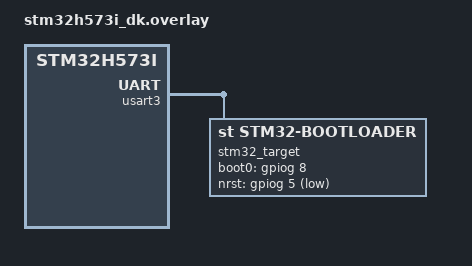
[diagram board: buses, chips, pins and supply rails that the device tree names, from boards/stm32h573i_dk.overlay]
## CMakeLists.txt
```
# SPDX-License-Identifier: Apache-2.0

cmake_minimum_required(VERSION 3.20.0)
find_package(Zephyr REQUIRED HINTS $ENV{ZEPHYR_BASE})
project(stm32_bootloader)

target_sources(app PRIVATE src/main.c)
```

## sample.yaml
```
sample:
  name: STM32 system bootloader host sample
  description: |
    Demonstrates the standalone bootloader driver and its companion flash
    adapter by programming a small payload into a target STM32 via its
    USART ROM bootloader.
tests:
  sample.drivers.misc.stm32_bootloader:
    build_only: true
    platform_allow:
      - stm32h573i_dk
    tags:
      - drivers
      - flash
      - misc
```

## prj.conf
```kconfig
CONFIG_GPIO=y
CONFIG_SERIAL=y
CONFIG_LOG=y

CONFIG_STM32_BOOTLOADER=y

# The flash adapter + stream_flash stack (optional; disable if you only
# need the bootloader API directly).
CONFIG_FLASH=y
CONFIG_FLASH_PAGE_LAYOUT=y
CONFIG_STREAM_FLASH=y
CONFIG_STREAM_FLASH_POST_WRITE_CALLBACK=y
```

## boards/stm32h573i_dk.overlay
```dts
/*
 * Copyright (c) 2026 Alex Fabre
 *
 * SPDX-License-Identifier: Apache-2.0
 */

/*
 * Target: nucleo_g0B1re (STM32G0B1RE), 512 KiB flash, 2 KiB pages.
 *
 * The bootloader node describes how to reach the target. The
 * main_flash child exposes its 512 KiB internal flash as a Zephyr
 * flash device so the sample can stream firmware with stream_flash.
 */

&usart3 {
	stm32_target: stm32_bootloader {
		compatible = "st,stm32-bootloader";
		boot0-gpios = <&gpiog 8 GPIO_ACTIVE_HIGH>;
		nrst-gpios = <&gpiog 5 GPIO_ACTIVE_LOW>;
		#address-cells = <1>;
		#size-cells = <1>;

		main_flash: main-flash@8000000 {
			compatible = "st,stm32-bootloader-flash";
			reg = <0x08000000 0x80000>;
			erase-block-size = <0x800>;
		};
	};
};
```

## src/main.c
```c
/*
 * Copyright (c) 2026 Alex Fabre
 *
 * SPDX-License-Identifier: Apache-2.0
 */

/**
 * @file
 * @brief STM32 system bootloader sample: using both the bootloader and
 *        flash-adapter APIs side by side.
 *
 * The bootloader node exposes the AN3155 command set through its own
 * typed API (enter / get_info / go / exit / mass_erase / ...). Its child
 * @c main_flash node exposes the target's internal flash as a Zephyr
 * flash device, so programming flows through stream_flash exactly like
 * on any other flash driver.
 *
 * Pick the API that matches your task:
 *   - bl_dev (parent)        → lifecycle, go, mass_erase, raw memory R/W
 *   - main_flash_dev (child) → flash_read / flash_write / flash_erase and
 *                              anything that composes on top: stream_flash,
 *                              flash_img, mcumgr img_mgmt, UpdateHub.
 *
 * The adapter does not manage sessions — call @c stm32_bootloader_enter
 * on the parent before any @c flash_* call and @c stm32_bootloader_exit
 * when you are done.
 */

#include <string.h>

#include <zephyr/kernel.h>
#include <zephyr/device.h>
#include <zephyr/drivers/flash.h>
#include <zephyr/storage/stream_flash.h>
#include <zephyr/logging/log.h>

#include <zephyr/drivers/misc/stm32_bootloader/stm32_bootloader.h>

LOG_MODULE_REGISTER(main, LOG_LEVEL_INF);

static const struct device *const bl_dev = DEVICE_DT_GET(DT_NODELABEL(stm32_target));
static const struct device *const main_flash_dev = DEVICE_DT_GET(DT_NODELABEL(main_flash));

#define TARGET_FLASH_BASE DT_REG_ADDR(DT_NODELABEL(main_flash))
#define TARGET_FLASH_SIZE DT_REG_SIZE(DT_NODELABEL(main_flash))

static uint8_t stream_buf[256];
static uint8_t verify_scratch[256];

/*
 * Minimal Cortex-M firmware: initial SP, reset vector pointing at the
 * instruction two bytes in, and an endless Thumb loop ("b ."). Word-
 * aligned so the AN3155 write-block-size constraint is satisfied.
 */
static const uint8_t test_firmware[] __aligned(4) = {
	0x00, 0x00, 0x02, 0x20, /* Initial SP = 0x20020000 */
	0x09, 0x00, 0x00, 0x08, /* Reset vector = 0x08000009 (Thumb) */
	0xFE, 0xE7, 0xFE, 0xE7, /* b . ; b . */
};

static int verify_cb(uint8_t *buf, size_t len, size_t offset)
{
	int ret = flash_read(main_flash_dev, offset, verify_scratch, len);

	if (ret < 0) {
		LOG_ERR("Verify read @0x%zx: %d", offset, ret);
		return ret;
	}
	if (memcmp(buf, verify_scratch, len) != 0) {
		LOG_ERR("Verify mismatch @0x%zx", offset);
		return -EIO;
	}
	LOG_INF("Verified %zu bytes @0x%zx", len, offset);
	return 0;
}

int main(void)
{
	struct stm32_bootloader_info info;
	struct stream_flash_ctx ctx;
	int ret;

	if (!device_is_ready(bl_dev) || !device_is_ready(main_flash_dev)) {
		LOG_ERR("Devices not ready");
		return -ENODEV;
	}

	LOG_INF("=== STM32 bootloader sample ===");

	/* Parent API: lifecycle. */
	ret = stm32_bootloader_enter(bl_dev);
	if (ret < 0) {
		LOG_ERR("enter: %d", ret);
		return ret;
	}

	if (stm32_bootloader_get_info(bl_dev, &info) == 0) {
		LOG_INF("Target: PID=0x%04x, BL v%d.%d, %s erase", info.pid, info.bl_version >> 4,
			info.bl_version & 0x0F, info.has_extended_erase ? "extended" : "standard");
	}

	/*
	 * Parent API: a single mass-erase command is much faster than
	 * erasing every page individually via the flash adapter. The
	 * flash adapter deliberately never issues mass-erase on its own.
	 */
	LOG_INF("Mass-erasing target...");
	ret = stm32_bootloader_mass_erase(bl_dev);
	if (ret < 0) {
		LOG_ERR("mass_erase: %d", ret);
		goto leave;
	}

	/*
	 * Flash adapter: stream the firmware through stream_flash with a
	 * post-write verify callback. No bootloader-specific code below
	 * this point — this is the same code you would write for any
	 * Zephyr flash device.
	 */
	ret = stream_flash_init(&ctx, main_flash_dev, stream_buf, sizeof(stream_buf), 0,
				TARGET_FLASH_SIZE, verify_cb);
	if (ret < 0) {
		LOG_ERR("stream_flash_init: %d", ret);
		goto leave;
	}

	LOG_INF("Streaming %zu bytes of firmware...", sizeof(test_firmware));
	ret = stream_flash_buffered_write(&ctx, test_firmware, sizeof(test_firmware), true);
	if (ret < 0) {
		LOG_ERR("stream_flash_buffered_write: %d", ret);
		goto leave;
	}

	/* Parent API: jump into the freshly written firmware. */
	LOG_INF("Jumping to 0x%08x...", (unsigned int)TARGET_FLASH_BASE);
	ret = stm32_bootloader_go(bl_dev, TARGET_FLASH_BASE);
	if (ret < 0) {
		LOG_ERR("go: %d", ret);
	}

leave:
	(void)stm32_bootloader_exit(bl_dev, ret < 0);
	LOG_INF("=== Done ===");
	return ret;
}
```
